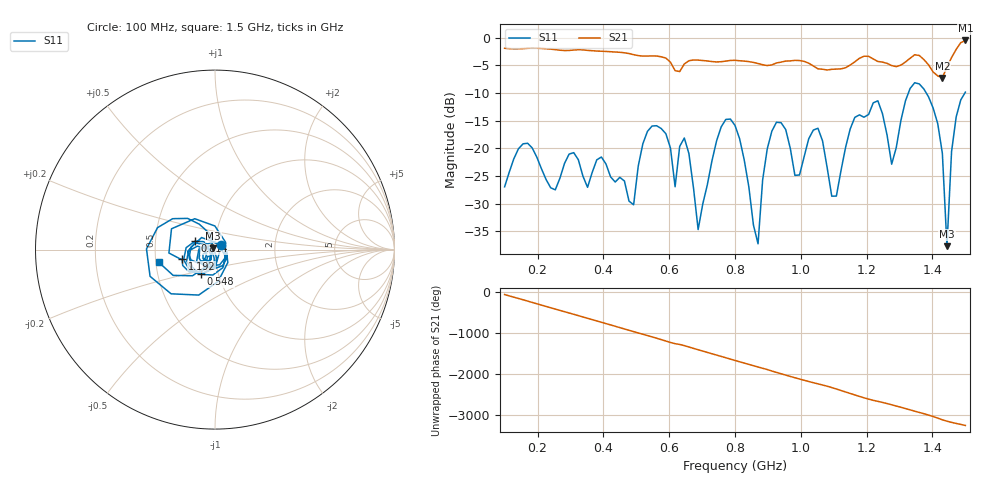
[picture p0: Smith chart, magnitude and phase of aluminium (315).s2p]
! NanoVNA-App
! Date: 2025-09-25 14:57:44
! Start: 100MHz Stop: 1,5GHz Points: 101
! S-Parameter data: F S11 S21 S12 S22
# Hz S RI R 50
!  Frequency  S11_Real  S11_Imag  S21_Real  S21_Imag  S12_Real  S12_Imag  S22_Real  S22_Imag
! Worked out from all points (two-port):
!   101 points, 100 MHz to 1.5 GHz, reference 50 ohm
!   highest |S21| = -0.51 dB at 1.5 GHz (marker M1); lowest = -7.3 dB at 1.43 GHz (marker M2)
!   |S21| within 3 dB of the highest: start of sweep to 578.8 MHz; 1.459 GHz to end of sweep (the widest 2 of 4)
!   lowest |S11| = -37.7 dB at 1.444 GHz (marker M3), VSWR 1.03, Z = 49 + j0.767 ohm
!   |S11| at or under -10 dB: start of sweep to 1.327 GHz; 1.381 GHz to 1.499 GHz (117.5 MHz wide, 8.16 % of centre)
!   S12 and S22 are empty: the file has one direction only
!   S11 on the Smith chart (normalised r, x): 100 MHz: 1.07, +0.06; 548 MHz: 0.82, -0.23; 814 MHz: 0.79, +0.07; 1.192 GHz: 0.69, -0.07; 1.5 GHz: 0.52, -0.08
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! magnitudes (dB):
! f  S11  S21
! 100 MHz  -27.0  -1.9
! 338 MHz  -25.0  -2.2
! 492 MHz  -30.2  -3.1
! 548 MHz  -16.0  -3.3
! 576 MHz  -16.4  -3.5
! 618 MHz  -27.0  -6.0
! 646 MHz  -18.1  -4.8
! 688 MHz  -34.7  -4.1
! 800 MHz  -15.9  -4.1
! 814 MHz  -18.3  -4.2
! 870 MHz  -37.3  -4.7
! 912 MHz  -16.9  -4.9
! 982 MHz  -24.9  -4.1
! 1.038 GHz  -16.7  -5.1
! 1.108 GHz  -28.6  -5.7
! 1.192 GHz  -14.4  -3.4
! 1.276 GHz  -22.9  -5.0
! 1.346 GHz  -8.1  -3.1
! 1.43 GHz  -20.9  -7.3
! 1.444 GHz  -37.7  -5.3
! 1.458 GHz  -20.6  -3.6
! 1.5 GHz  -9.9  -0.5
